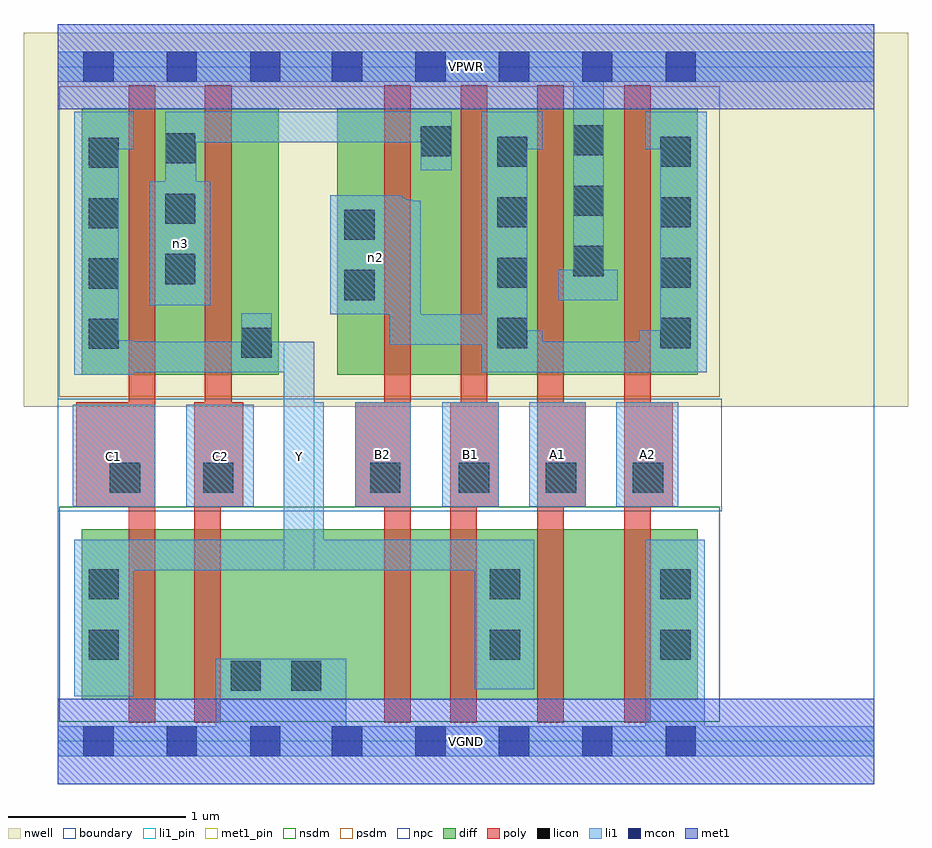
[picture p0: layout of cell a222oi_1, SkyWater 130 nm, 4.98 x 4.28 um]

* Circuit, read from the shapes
.subckt a222oi_1 A1 A2 B1 B2 C1 C2 VGND VPWR Y n2 n3
XM1 n1 C1 Y VSUBS sky130_fd_pr__nfet_01v8 w=0.96 l=0.15
XM2 VGND C2 n1 VSUBS sky130_fd_pr__nfet_01v8 w=0.96 l=0.15
XM3 n4 B2 VGND VSUBS sky130_fd_pr__nfet_01v8 w=0.96 l=0.15
XM4 Y B1 n4 VSUBS sky130_fd_pr__nfet_01v8 w=0.96 l=0.15
XM5 n5 A1 Y VSUBS sky130_fd_pr__nfet_01v8 w=0.96 l=0.15
XM6 VGND A2 n5 VSUBS sky130_fd_pr__nfet_01v8 w=0.96 l=0.15
XM7 n3 C1 Y n6 sky130_fd_pr__pfet_01v8 w=1.5 l=0.15
XM8 Y C2 n3 n6 sky130_fd_pr__pfet_01v8 w=1.5 l=0.15
XM9 n3 B2 n2 n6 sky130_fd_pr__pfet_01v8 w=1.5 l=0.15
XM10 n2 B1 n3 n6 sky130_fd_pr__pfet_01v8 w=1.5 l=0.15
XM11 VPWR A1 n2 n6 sky130_fd_pr__pfet_01v8 w=1.5 l=0.15
XM12 n2 A2 VPWR n6 sky130_fd_pr__pfet_01v8 w=1.5 l=0.15
.ends

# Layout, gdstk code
import gdstk
lib = gdstk.Library(unit=1e-6, precision=1e-09)
def R(c, l, rs):  # rectangles x0, y0, x1, y1
    for r in rs: c.add(gdstk.rectangle(r[:2], r[2:], *l))
def A(c, l, x, y, w, h, nx, ny, dx, dy):  # array of equal rectangles
    R(c, l, [(x+i*dx, y+j*dy, x+i*dx+w, y+j*dy+h) for i in range(nx) for j in range(ny)])
nwell = (64, 20)
diff = (65, 20)
poly = (66, 20)
licon = (66, 44)
li1_pin = (67, 16)
li1 = (67, 20)
mcon = (67, 44)
met1_pin = (68, 16)
met1 = (68, 20)
nsdm = (93, 44)
psdm = (94, 20)
npc = (95, 20)
boundary = (235, 4)

a222oi_1 = lib.new_cell('a222oi_1')
R(a222oi_1, nwell, [(-0.19,1.885,4.79,3.99), (0,1.885,4.6,3.99)])
R(a222oi_1, diff, [(0.135,0.235,3.605,1.195), (0.135,2.065,1.245,3.565), (1.575,2.065,3.605,3.565)])
A(a222oi_1, poly, 2.21, 1.32, 0.275, 0.59, 3, 1, 0.49, 0)
R(a222oi_1, poly, [(0.4,0.105,0.55,3.695), (0.77,0.105,0.92,1.91), (1.84,0.105,1.99,3.695), (2.21,0.105,2.36,1.91), (2.7,0.105,2.85,3.695), (3.19,0.105,3.34,3.695), (0.105,1.32,0.55,1.91), (0.77,1.32,1.045,1.91), (0.83,1.32,0.98,3.695), (1.675,1.32,1.99,1.91), (2.27,1.32,2.42,3.695)])
A(a222oi_1, licon, 2.26, 1.4, 0.17, 0.17, 3, 1, 0.49, 0)
A(a222oi_1, licon, 0.175, 2.21, 0.17, 0.17, 1, 4, 0, 0.34)
A(a222oi_1, licon, 2.475, 2.215, 0.17, 0.17, 1, 4, 0, 0.34)
A(a222oi_1, licon, 3.395, 2.215, 0.17, 0.17, 1, 4, 0, 0.34)
A(a222oi_1, licon, 0.605, 2.575, 0.17, 0.17, 1, 3, 0, 0.34)
A(a222oi_1, licon, 2.905, 2.62, 0.17, 0.17, 1, 3, 0, 0.34)
R(a222oi_1, licon, [(0.975,0.285,1.145,0.455), (1.315,0.285,1.485,0.455), (0.175,0.46,0.345,0.63), (2.435,0.46,2.605,0.63), (3.395,0.46,3.565,0.63), (0.175,0.8,0.345,0.97), (2.435,0.8,2.605,0.97), (3.395,0.8,3.565,0.97), (0.295,1.4,0.465,1.57), (0.82,1.4,0.99,1.57), (1.76,1.4,1.93,1.57), (1.035,2.16,1.205,2.33), (1.615,2.485,1.785,2.655), (1.615,2.825,1.785,2.995), (2.045,3.295,2.215,3.465)])
R(a222oi_1, li1_pin, [(1.275,0.965,1.445,2.25), (0.085,1.32,0.55,1.895), (0.725,1.32,1.105,1.895), (1.675,1.32,1.99,1.91), (2.165,1.32,2.485,1.91), (2.655,1.32,2.975,1.91), (3.145,1.32,3.495,1.91)])
R(a222oi_1, li1, [(0,-0.085,4.6,0.085), (0.89,-0.085,1.625,0.465), (3.31,-0.085,3.645,1.135), (0.095,0.255,0.43,1.135), (2.35,0.295,2.685,1.135), (0.095,0.965,2.685,1.135), (1.275,0.965,1.445,2.25), (1.275,1.135,1.5,1.91), (0.085,1.32,0.55,1.895), (0.725,1.32,1.105,1.895), (1.675,1.32,1.99,1.91), (2.165,1.32,2.485,1.91), (2.655,1.32,2.975,1.91), (3.145,1.32,3.495,1.91), (0.095,2.065,0.345,3.545), (0.095,2.065,0.43,2.26), (0.095,2.08,1.445,2.25), (1.035,2.08,1.205,2.41), (2.39,2.08,2.645,3.545), (2.39,2.08,3.655,2.25), (2.39,2.08,2.73,2.315), (3.275,2.08,3.655,2.315), (3.395,2.08,3.655,3.545), (1.87,2.235,2.645,2.405), (1.535,2.405,2.045,3.045), (1.535,2.405,1.94,3.075), (1.535,2.405,1.96,3.06), (1.535,2.405,2,3.05), (0.52,2.455,0.86,3.155), (0.605,2.455,0.78,3.545), (2.82,2.485,3.155,2.655), (2.905,2.485,3.075,3.885), (2.045,3.215,2.22,3.545), (0.095,3.335,0.43,3.545), (2.39,3.335,2.73,3.545), (3.31,3.335,3.655,3.545), (0.605,3.375,2.22,3.545), (0,3.715,4.6,3.885)])
A(a222oi_1, mcon, 0.145, -0.085, 0.17, 0.17, 3, 2, 0.47, 3.8)
A(a222oi_1, mcon, 1.545, -0.085, 0.17, 0.17, 5, 2, 0.47, 3.8)
R(a222oi_1, met1_pin, [(0,-0.24,4.6,0.24), (0,3.56,4.6,4.04)])
R(a222oi_1, met1, [(0,-0.24,4.6,0.24), (0,3.56,4.6,4.04)])
R(a222oi_1, nsdm, [(0.01,0.11,3.73,1.32)])
R(a222oi_1, psdm, [(0.01,1.94,3.73,3.69)])
R(a222oi_1, npc, [(0,1.295,3.74,1.93)])
R(a222oi_1, boundary, [(0,0,4.6,3.8)])
a222oi_1.add(gdstk.Label('A1', (2.815,1.615), layer=67, texttype=5))
a222oi_1.add(gdstk.Label('A2', (3.32,1.615), layer=67, texttype=5))
a222oi_1.add(gdstk.Label('B1', (2.325,1.615), layer=67, texttype=5))
a222oi_1.add(gdstk.Label('B2', (1.832,1.615), layer=67, texttype=5))
a222oi_1.add(gdstk.Label('C1', (0.317,1.607), layer=67, texttype=5))
a222oi_1.add(gdstk.Label('C2', (0.915,1.607), layer=67, texttype=5))
a222oi_1.add(gdstk.Label('Y', (1.36,1.607), layer=67, texttype=5))
a222oi_1.add(gdstk.Label('n3', (0.69,2.805), layer=67, texttype=5))
a222oi_1.add(gdstk.Label('n2', (1.79,2.725), layer=67, texttype=5))
a222oi_1.add(gdstk.Label('VPWR', (2.3,3.8), layer=68, texttype=5))
a222oi_1.add(gdstk.Label('VGND', (2.3,0), layer=68, texttype=5))
a222oi_1.add(gdstk.Label('A1', (2.815,1.615), layer=67, texttype=16))
a222oi_1.add(gdstk.Label('A2', (3.32,1.615), layer=67, texttype=16))
a222oi_1.add(gdstk.Label('B1', (2.325,1.615), layer=67, texttype=16))
a222oi_1.add(gdstk.Label('B2', (1.832,1.615), layer=67, texttype=16))
a222oi_1.add(gdstk.Label('C1', (0.317,1.607), layer=67, texttype=16))
a222oi_1.add(gdstk.Label('C2', (0.915,1.607), layer=67, texttype=16))
a222oi_1.add(gdstk.Label('Y', (1.36,1.607), layer=67, texttype=16))
a222oi_1.add(gdstk.Label('VPWR', (2.3,3.8), layer=68, texttype=16))
a222oi_1.add(gdstk.Label('VGND', (2.3,0), layer=68, texttype=16))

lib.write_gds('a222oi_1.gds')
